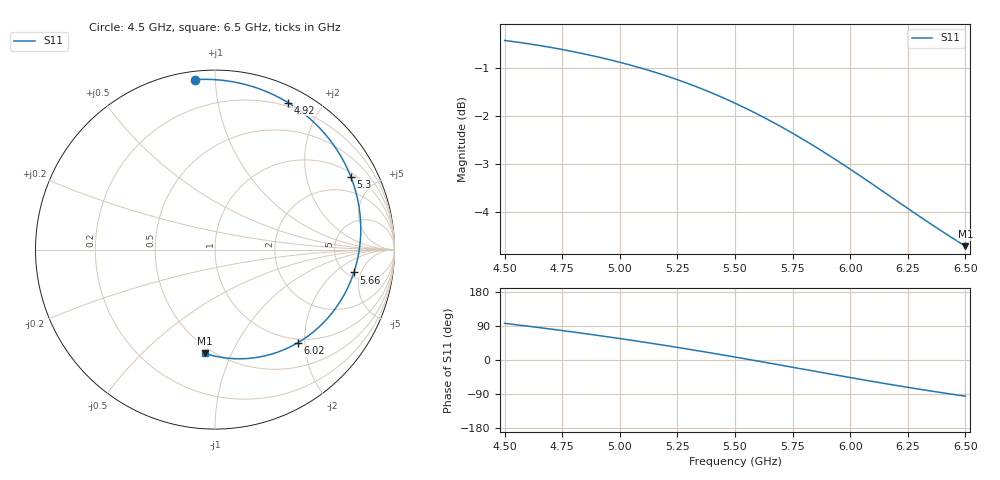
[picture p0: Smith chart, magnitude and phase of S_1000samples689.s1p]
! TOUCHSTONE file generated by CST MICROWAVE STUDIO
! Date and time: Sat Oct 29 01:07:09 2022
! Project name: L.cst
! Parameters = {Di=1.27; Epsilon_r=1.56; InnerDiameter=1.27; Length=2; Lf=10; Lg=60; OuterConductorThickness=0.2921; OuterDiameter=3.6; Wf=3; Wp=41.2; de=1.5; df=6.8; g=0.8; gx=4.09839; gy=4.81577; h=2.34; hf=1.524; px=13.1419; py=12.3546; w=9.7; wx=9.04351; wy=7.53883}
! Header version: 2018
! Port assignment regex: !\s*Touchstone port\s*([0-9]+)\s*=\s*(CST MWS port|CST DS port)\s*([0-9]+|Zmin|Zmax)\s*\(\"(.*)\"\)(\s*mode\s*([0-9]+))?.*
! Touchstone port assignment:
! Touchstone port 1 = CST MWS port 1 ("")
# GHz S DB R 50
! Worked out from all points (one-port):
!   101 points, 4.5 GHz to 6.5 GHz, reference 50 ohm
!   lowest |S11| = -4.7 dB at 6.5 GHz (marker M1), VSWR 3.77, Z = 22.9 - j39.9 ohm
!   |S11| at or under -10 dB: nowhere
!   S11 on the Smith chart (normalised r, x): 4.5 GHz: 0.04, +0.89; 4.92 GHz: 0.16, +1.60; 5.3 GHz: 1.16, +3.61; 5.66 GHz: 5.71, -3.78; 6.02 GHz: 0.92, -1.85; 6.5 GHz: 0.46, -0.80
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4.5  -0.41 96.7
4.58  -0.47 90.8
4.64  -0.51 86.3
4.76  -0.61 76.9
4.84  -0.69 70.3
4.92  -0.78 63.6
5  -0.87 56.6
5.06  -0.95 51.2
5.12  -1.03 45.7
5.2  -1.15 38.1
5.26  -1.25 32.3
5.3  -1.32 28.3
5.4  -1.51 18.2
5.5  -1.73 7.8
5.58  -1.91 -0.7
5.66  -2.11 -9.4
5.76  -2.38 -20.2
5.82  -2.55 -26.8
5.88  -2.73 -33.3
5.94  -2.92 -39.8
6  -3.11 -46.3
6.02  -3.17 -48.4
6.08  -3.37 -54.8
6.14  -3.56 -61.0
6.2  -3.76 -67.1
6.26  -3.96 -73.1
6.38  -4.35 -84.6
6.5  -4.72 -95.5
